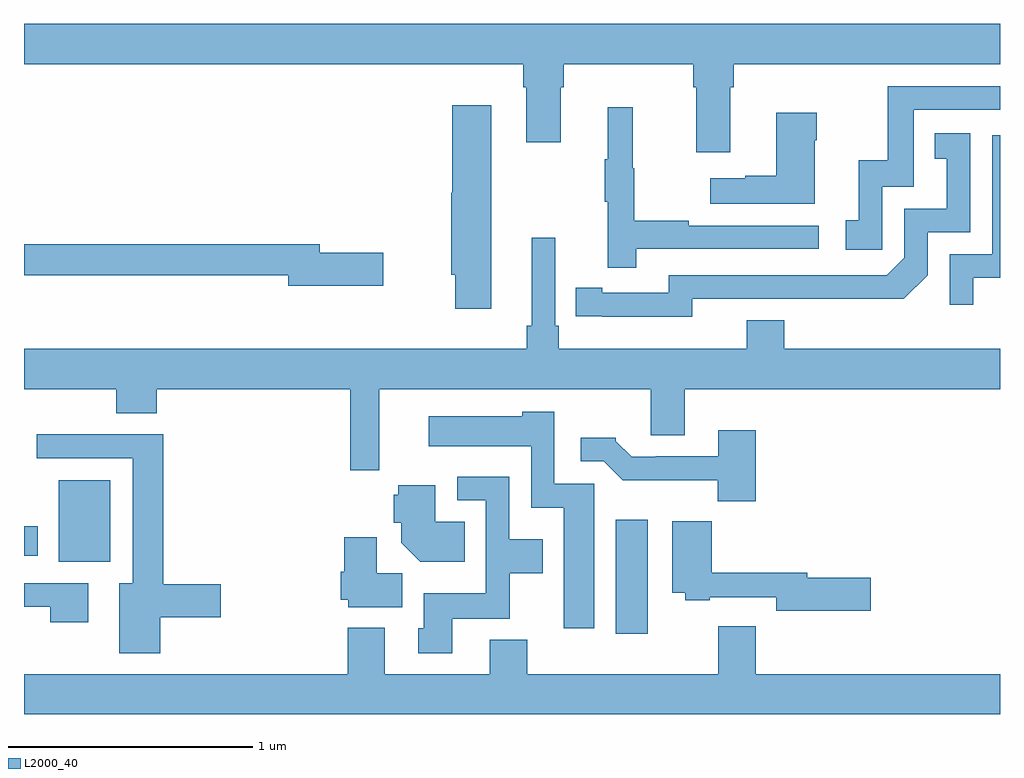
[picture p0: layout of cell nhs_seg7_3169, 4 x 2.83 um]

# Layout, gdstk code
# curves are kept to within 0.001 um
import gdstk
lib = gdstk.Library(unit=1e-6, precision=1e-09)
def R(c, l, rs):  # rectangles x0, y0, x1, y1
    for r in rs: c.add(gdstk.rectangle(r[:2], r[2:], *l))
def P(c, l, *ps):  # polygons
    for p in ps: c.add(gdstk.Polygon(p, *l))
L2000_40 = (2000, 40)

nhs_seg7_3169 = lib.new_cell('nhs_seg7_3169')
R(nhs_seg7_3169, L2000_40, [(315.425,1032.912,315.556,1033.381), (313.142,1033.208,313.354,1033.543), (313,1033.232,313.057,1033.354)])
P(nhs_seg7_3169, L2000_40, [(315.895,1035.152),(315.908,1035.152),(315.908,1035.248),(317,1035.248),(317,1035.412),(313,1035.412),(313,1035.248),(315.047,1035.248),(315.047,1035.152),(315.059,1035.152),(315.059,1034.928),(315.199,1034.928),(315.199,1035.152),(315.212,1035.152),(315.212,1035.248),(315.743,1035.248),(315.743,1035.152),(315.755,1035.152),(315.755,1034.886),(315.895,1034.886)],
  [(316.518,1034.745),(316.647,1034.745),(316.647,1035.06),(317,1035.06),(317,1035.156),(316.539,1035.156),(316.539,1034.853),(316.421,1034.853),(316.421,1034.607),(316.368,1034.607),(316.368,1034.487),(316.518,1034.487)],
  [(314.914,1035.079),(314.756,1035.079),(314.756,1034.721),(314.75,1034.721),(314.75,1034.385),(314.768,1034.385),(314.768,1034.244),(314.914,1034.244)],
  [(315.509,1034.49),(316.258,1034.49),(316.258,1034.586),(315.725,1034.586),(315.725,1034.606),(315.502,1034.606),(315.502,1034.82),(315.494,1034.82),(315.494,1035.07),(315.392,1035.07),(315.392,1034.857),(315.381,1034.857),(315.381,1034.683),(315.392,1034.683),(315.392,1034.412),(315.509,1034.412)],
  [(316.24,1034.936),(316.248,1034.936),(316.248,1035.049),(316.082,1035.049),(316.082,1034.789),(315.956,1034.789),(315.956,1034.779),(315.813,1034.779),(315.813,1034.675),(316.24,1034.675)],
  [(315.738,1034.286),(316.606,1034.285),(316.704,1034.382),(316.704,1034.559),(316.878,1034.559),(316.878,1034.965),(316.732,1034.965),(316.732,1034.859),(316.781,1034.859),(316.781,1034.655),(316.608,1034.655),(316.608,1034.454),(316.536,1034.382),(315.642,1034.382),(315.642,1034.31),(315.37,1034.31),(315.37,1034.33),(315.262,1034.33),(315.262,1034.214),(315.738,1034.213)],
  [(316.891,1034.373),(317,1034.373),(317,1034.955),(316.968,1034.955),(316.968,1034.469),(316.794,1034.469),(316.794,1034.262),(316.891,1034.262)],
  [(315.191,1034.176),(315.177,1034.176),(315.177,1034.536),(315.08,1034.536),(315.08,1034.176),(315.061,1034.176),(315.061,1034.08),(313,1034.08),(313,1033.916),(313.379,1033.916),(313.379,1033.817),(313.544,1033.817),(313.544,1033.916),(314.338,1033.916),(314.338,1033.584),(314.456,1033.584),(314.456,1033.916),(315.569,1033.916),(315.569,1033.726),(315.709,1033.726),(315.709,1033.916),(317,1033.916),(317,1034.08),(316.115,1034.08),(316.115,1034.197),(315.962,1034.197),(315.962,1034.08),(315.191,1034.08)],
  [(314.473,1034.474),(314.212,1034.474),(314.212,1034.51),(313,1034.51),(313,1034.382),(314.084,1034.382),(314.084,1034.339),(314.473,1034.339)],
  [(315.337,1033.527),(315.174,1033.527),(315.174,1033.822),(315.042,1033.822),(315.042,1033.804),(314.658,1033.804),(314.658,1033.682),(315.078,1033.682),(315.078,1033.43),(315.212,1033.43),(315.212,1032.936),(315.337,1032.936)],
  [(315.998,1033.747),(315.845,1033.747),(315.845,1033.641),(315.589,1033.641),(315.589,1033.638),(315.49,1033.638),(315.426,1033.702),(315.426,1033.717),(315.282,1033.717),(315.282,1033.62),(315.375,1033.62),(315.454,1033.542),(315.843,1033.542),(315.843,1033.457),(315.998,1033.457)],
  [(313.558,1032.98),(313.807,1032.98),(313.807,1033.115),(313.571,1033.115),(313.571,1033.73),(313.053,1033.73),(313.053,1033.632),(313.445,1033.632),(313.445,1033.12),(313.391,1033.12),(313.391,1032.834),(313.558,1032.834)],
  [(314.755,1032.974),(314.991,1032.974),(314.991,1033.16),(315.127,1033.16),(315.127,1033.3),(314.988,1033.3),(314.988,1033.557),(314.775,1033.557),(314.775,1033.461),(314.892,1033.461),(314.892,1033.078),(314.639,1033.078),(314.639,1032.936),(314.615,1032.936),(314.615,1032.834),(314.755,1032.834)],
  [(314.807,1033.372),(314.686,1033.372),(314.686,1033.522),(314.534,1033.522),(314.534,1033.482),(314.516,1033.482),(314.516,1033.368),(314.546,1033.368),(314.546,1033.286),(314.624,1033.208),(314.807,1033.208)],
  [(316.471,1033.142),(316.21,1033.142),(316.21,1033.163),(315.818,1033.163),(315.818,1033.375),(315.656,1033.375),(315.656,1033.082),(315.711,1033.082),(315.711,1033.05),(315.811,1033.05),(315.811,1033.062),(316.082,1033.062),(316.082,1033.007),(316.471,1033.007)],
  [(314.551,1033.16),(314.446,1033.16),(314.446,1033.309),(314.312,1033.309),(314.312,1033.167),(314.299,1033.167),(314.299,1033.053),(314.328,1033.053),(314.328,1033.022),(314.551,1033.022)],
  [(313.264,1033.119),(313,1033.119),(313,1033.023),(313.108,1033.023),(313.108,1032.96),(313.264,1032.96)],
  [(317,1032.748),(315.998,1032.748),(315.998,1032.943),(315.845,1032.943),(315.845,1032.748),(315.062,1032.748),(315.062,1032.889),(314.909,1032.889),(314.909,1032.748),(314.479,1032.748),(314.479,1032.937),(314.327,1032.937),(314.327,1032.748),(313,1032.748),(313,1032.584),(317,1032.584)])

lib.write_gds('nhs_seg7_3169.gds')
